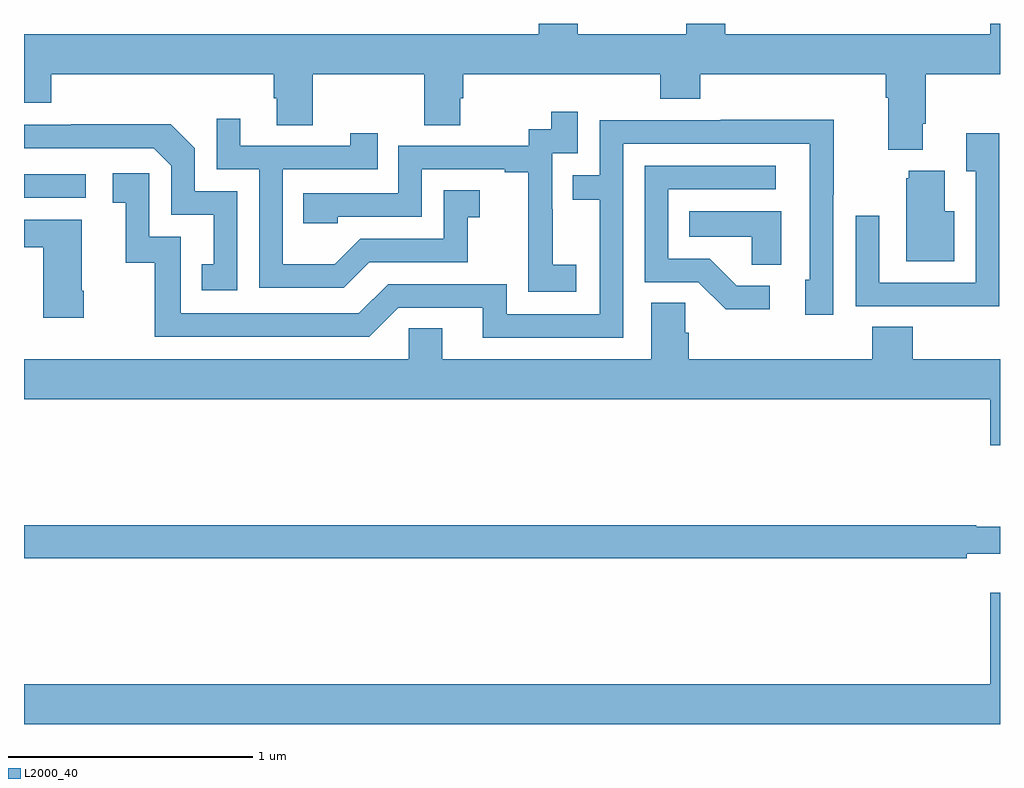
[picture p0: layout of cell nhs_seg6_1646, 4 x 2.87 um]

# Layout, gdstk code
import gdstk
lib = gdstk.Library(unit=1e-6, precision=1e-09)
def R(c, l, rs):  # rectangles x0, y0, x1, y1
    for r in rs: c.add(gdstk.rectangle(r[:2], r[2:], *l))
def P(c, l, *ps):  # polygons
    for p in ps: c.add(gdstk.Polygon(p, *l))
L2000_40 = (2000, 40)

nhs_seg6_1646 = lib.new_cell('nhs_seg6_1646')
R(nhs_seg6_1646, L2000_40, [(209,990.786,209.254,990.882)])
P(nhs_seg6_1646, L2000_40, [(212.683,991.09),(212.696,991.09),(212.696,991.292),(213,991.292),(213,991.5),(212.96,991.5),(212.96,991.456),(211.874,991.456),(211.874,991.5),(211.714,991.5),(211.714,991.456),(211.269,991.456),(211.269,991.5),(211.109,991.5),(211.109,991.456),(209,991.456),(209,991.175),(209.111,991.175),(209.111,991.292),(210.023,991.292),(210.023,991.194),(210.035,991.194),(210.035,991.084),(210.183,991.084),(210.183,991.292),(210.64,991.292),(210.64,991.084),(210.787,991.084),(210.787,991.194),(210.8,991.194),(210.8,991.292),(211.607,991.292),(211.607,991.193),(211.772,991.193),(211.772,991.292),(212.531,991.292),(212.531,991.196),(212.543,991.196),(212.543,990.983),(212.683,990.983)],
  [(211.264,990.511),(211.166,990.511),(211.166,990.74),(211.164,990.74),(211.164,990.969),(211.269,990.969),(211.269,991.138),(211.161,991.138),(211.161,991.068),(211.068,991.068),(211.068,990.999),(210.534,990.999),(210.534,990.804),(210.145,990.804),(210.145,990.681),(210.285,990.681),(210.285,990.708),(210.63,990.708),(210.63,990.903),(210.971,990.903),(210.971,990.891),(211.067,990.891),(211.067,990.607),(211.066,990.607),(211.066,990.401),(211.264,990.401)],
  [(210.415,990.522),(210.819,990.522),(210.819,990.707),(210.868,990.707),(210.868,990.817),(210.72,990.817),(210.72,990.618),(210.378,990.618),(210.274,990.514),(210.06,990.514),(210.06,990.903),(210.449,990.903),(210.449,991.051),(210.338,991.051),(210.338,990.999),(209.887,990.999),(209.887,991.111),(209.79,991.111),(209.79,990.903),(209.964,990.903),(209.964,990.417),(210.31,990.417)],
  [(211.455,991.008),(212.22,991.008),(212.22,990.45),(212.201,990.45),(212.201,990.306),(212.316,990.306),(212.316,990.799),(212.319,990.799),(212.319,991.106),(211.855,991.106),(211.855,991.104),(211.359,991.104),(211.359,990.879),(211.249,990.879),(211.249,990.778),(211.359,990.778),(211.359,990.309),(210.978,990.309),(210.978,990.432),(210.492,990.432),(210.372,990.312),(209.643,990.312),(209.643,990.627),(209.514,990.627),(209.514,990.886),(209.364,990.886),(209.364,990.765),(209.417,990.765),(209.417,990.519),(209.535,990.519),(209.535,990.216),(210.414,990.216),(210.534,990.336),(210.881,990.336),(210.881,990.213),(211.455,990.213)],
  [(209.874,990.813),(209.7,990.813),(209.7,990.99),(209.602,991.088),(209.194,991.088),(209.194,991.086),(209,991.086),(209,990.99),(209.532,990.99),(209.604,990.918),(209.604,990.717),(209.777,990.717),(209.777,990.513),(209.728,990.513),(209.728,990.408),(209.874,990.408)],
  [(212.997,991.051),(212.861,991.051),(212.861,990.895),(212.901,990.895),(212.901,990.438),(212.505,990.438),(212.505,990.712),(212.409,990.712),(212.409,990.342),(212.725,990.342),(212.725,990.341),(212.997,990.341)],
  [(212.056,990.426),(211.921,990.426),(211.81,990.537),(211.641,990.537),(211.641,990.822),(212.08,990.822),(212.08,990.918),(211.545,990.918),(211.545,990.441),(211.764,990.441),(211.877,990.329),(212.056,990.329)],
  [(212.812,990.73),(212.773,990.73),(212.773,990.898),(212.627,990.898),(212.627,990.867),(212.615,990.867),(212.615,990.527),(212.812,990.527)],
  [(212.104,990.73),(211.726,990.73),(211.726,990.626),(211.983,990.626),(211.983,990.511),(212.104,990.511)],
  [(209.244,990.406),(209.236,990.406),(209.236,990.697),(209,990.697),(209,990.583),(209.078,990.583),(209.078,990.294),(209.244,990.294)],
  [(213,990.124),(212.642,990.124),(212.642,990.257),(212.477,990.257),(212.477,990.124),(211.724,990.124),(211.724,990.233),(211.71,990.233),(211.71,990.356),(211.571,990.356),(211.571,990.124),(210.715,990.124),(210.715,990.251),(210.576,990.251),(210.576,990.124),(209,990.124),(209,989.96),(212.96,989.96),(212.96,989.772),(213,989.772)],
  [(212.864,989.327),(213,989.327),(213,989.437),(212.903,989.437),(212.903,989.444),(209,989.444),(209,989.308),(212.864,989.308)],
  [(213,989.167),(212.96,989.167),(212.96,988.792),(209,988.792),(209,988.628),(213,988.628)])

lib.write_gds('nhs_seg6_1646.gds')
